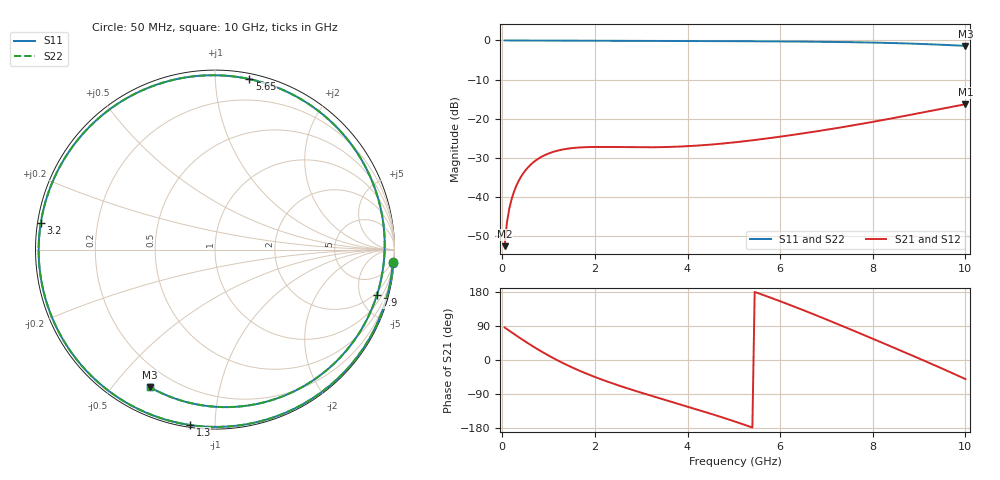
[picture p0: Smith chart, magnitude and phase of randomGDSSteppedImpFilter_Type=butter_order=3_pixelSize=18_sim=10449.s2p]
! freq	dB(S11)	phase(S11)	dB(S12)	phase(S12)
!  dB(S21)	phase(S21)	dB(S22)	phase(S22)
!S-par simulation data
#  GHz  S  DB  R 50
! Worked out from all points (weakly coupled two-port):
!   200 points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, 50 MHz to 10 GHz, reference 50 ohm
!   highest |S21| = -16.31 dB at 10 GHz (marker M1); lowest = -52.5 dB at 50 MHz (marker M2)
!   lowest |S11| = -1.4 dB at 10 GHz (marker M3), VSWR 12.15, Z = 5.75 - j31.3 ohm
!   |S11| at or under -10 dB: nowhere
!   |S22| runs from -1.4 to 0.0 dB; largest |S21 - S12| = 0
!   S11 on the Smith chart (normalised r, x): 50 MHz: 2, -27; 1.3 GHz: 0.01, -0.87; 3.2 GHz: 0.01, +0.08; 5.65 GHz: 0.04, +1.22; 7.9 GHz: 1.64, -6.84; 10 GHz: 0.11, -0.63
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0.05  -0.05 -4.2  -52.47 85.7  -52.47 85.7  -0.05 -4.1
0.1  -0.05 -8.4  -46.47 81.5  -46.47 81.5  -0.05 -8.4
0.15  -0.05 -12.6  -42.98 77.3  -42.98 77.3  -0.05 -12.6
0.25  -0.06 -21.0  -38.66 68.9  -38.66 68.9  -0.06 -21.0
0.4  -0.06 -33.3  -34.85 56.5  -34.85 56.5  -0.06 -33.3
0.85  -0.09 -68.0  -29.67 22.2  -29.67 22.2  -0.09 -68.0
1.3  -0.11 -98.1  -27.84 -7.5  -27.84 -7.5  -0.11 -98.1
1.75  -0.13 -124.0  -27.26 -32.5  -27.26 -32.5  -0.13 -124.0
2.45  -0.14 -157.8  -27.21 -64.6  -27.21 -64.6  -0.14 -157.8
3.2  -0.16 171.3  -27.27 -93.7  -27.27 -93.7  -0.16 171.3
3.4  -0.16 163.5  -27.24 -101.0  -27.24 -101.0  -0.16 163.5
4.3  -0.20 129.8  -26.77 -134.1  -26.77 -134.1  -0.20 129.8
5.05  -0.23 101.7  -25.97 -163.5  -25.97 -163.5  -0.23 101.7
5.65  -0.27 78.6  -25.12 170.9  -25.12 170.9  -0.27 78.6
6.15  -0.31 58.7  -24.32 148.1  -24.32 148.1  -0.31 58.7
6.7  -0.36 36.0  -23.36 121.8  -23.36 121.8  -0.36 36.0
7.3  -0.45 10.5  -22.23 91.9  -22.23 91.9  -0.45 10.5
7.9  -0.56 -15.8  -21.01 61.3  -21.01 61.3  -0.56 -15.7
8.35  -0.68 -35.9  -20.04 38.0  -20.04 38.0  -0.68 -35.8
9.2  -1.01 -75.3  -18.11 -6.6  -18.11 -6.6  -1.01 -75.2
9.6  -1.20 -94.8  -17.19 -28.1  -17.19 -28.1  -1.20 -94.8
10  -1.43 -115.3  -16.31 -50.3  -16.31 -50.3  -1.43 -115.3
